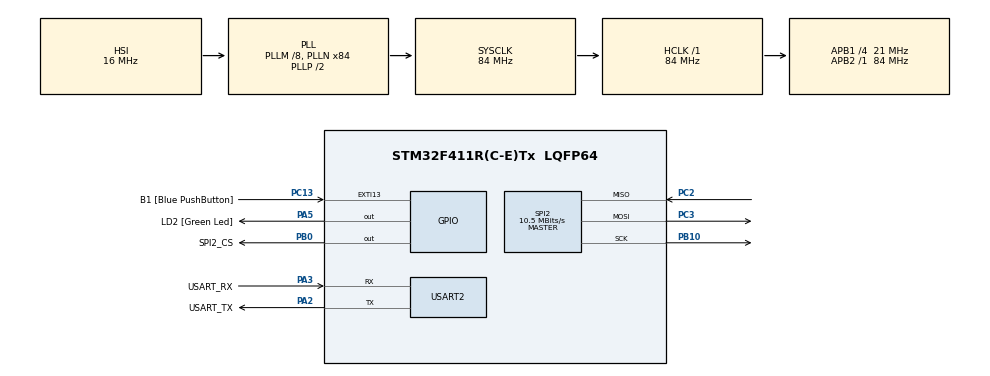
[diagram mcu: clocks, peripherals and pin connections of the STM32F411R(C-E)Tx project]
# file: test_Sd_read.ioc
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FATFS._MAX_SS=4096
FATFS._USE_LFN=1
Mcu.Family=STM32F4
Mcu.Name=STM32F411R(C-E)Tx
Mcu.Package=LQFP64
NVIC.PriorityGroup=NVIC_PRIORITYGROUP_0
NVIC.TIM3_IRQn=true\:0\:0\:false\:false\:true\:true\:true
PA13.GPIO_Label=TMS
PA13.Mode=Serial_Wire
PA13.Signal=SYS_JTMS-SWDIO
PA14.GPIO_Label=TCK
PA14.Mode=Serial_Wire
PA14.Signal=SYS_JTCK-SWCLK
PA2.GPIO_Label=USART_TX
PA2.Mode=Asynchronous
PA2.Signal=USART2_TX
PA3.GPIO_Label=USART_RX
PA3.Mode=Asynchronous
PA3.Signal=USART2_RX
PA5.GPIO_Label=LD2 [Green Led]
PA5.Signal=GPIO_Output
PB0.GPIO_Label=SPI2_CS
PB0.Signal=GPIO_Output
PB10.Mode=Full_Duplex_Master
PB10.Signal=SPI2_SCK
PB3.GPIO_Label=SWO
PB3.Signal=SYS_JTDO-SWO
PC13-ANTI_TAMP.GPIO_Label=B1 [Blue PushButton]
PC13-ANTI_TAMP.GPIO_ModeDefaultEXTI=GPIO_MODE_IT_FALLING
PC13-ANTI_TAMP.Signal=GPXTI13
PC14-OSC32_IN.Mode=LSE-External-Oscillator
PC14-OSC32_IN.Signal=RCC_OSC32_IN
PC15-OSC32_OUT.Mode=LSE-External-Oscillator
PC15-OSC32_OUT.Signal=RCC_OSC32_OUT
PC2.Mode=Full_Duplex_Master
PC2.Signal=SPI2_MISO
PC3.Mode=Full_Duplex_Master
PC3.Signal=SPI2_MOSI
PH0\ -\ OSC_IN.Mode=HSE-External-Oscillator
PH0\ -\ OSC_IN.Signal=RCC_OSC_IN
PH1\ -\ OSC_OUT.Mode=HSE-External-Oscillator
PH1\ -\ OSC_OUT.Signal=RCC_OSC_OUT
ProjectManager.HeapSize=0x200
ProjectManager.StackSize=0x400
ProjectManager.TargetToolchain=STM32CubeIDE
RCC.48MHZClocksFreq_Value=42000000
RCC.AHBFreq_Value=84000000
RCC.APB1CLKDivider=RCC_HCLK_DIV4
RCC.APB1Freq_Value=21000000
RCC.APB1TimFreq_Value=42000000
RCC.APB2Freq_Value=84000000
RCC.APB2TimFreq_Value=84000000
RCC.CortexFreq_Value=84000000
RCC.FLatency-AdvancedSettings=FLASH_LATENCY_2
RCC.HCLKFreq_Value=84000000
RCC.HSE_VALUE=8000000
RCC.HSI_VALUE=16000000
RCC.PLLM=8
RCC.PLLN=84
RCC.SYSCLKFreq_VALUE=84000000
RCC.SYSCLKSource=RCC_SYSCLKSOURCE_PLLCLK
RCC.VCOOutputFreq_Value=168000000
SPI2.CalculateBaudRate=10.5 MBits/s
SPI2.Direction=SPI_DIRECTION_2LINES
SPI2.Mode=SPI_MODE_MASTER
SPI2.VirtualType=VM_MASTER
TIM3.Period=99
TIM3.Prescaler=41999
USART2.VirtualMode=VM_ASYNC
VP_FATFS_VS_Generic.Mode=User_defined
VP_TIM3_VS_ClockSourceINT.Mode=Internal
board=NUCLEO-F411RE

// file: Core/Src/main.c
/* USER CODE BEGIN Header */
/**
  ******************************************************************************
  * @file           : main.c
  * @brief          : Main program body
  ******************************************************************************
  * @attention
  *
  * <h2><center>&copy; Copyright (c) 2022 STMicroelectronics.
  * All rights reserved.</center></h2>
  *
  * This software component is licensed by ST under BSD 3-Clause license,
  * the "License"; You may not use this file except in compliance with the
  * License. You may obtain a copy of the License at:
  *                        opensource.org/licenses/BSD-3-Clause
  *
  ******************************************************************************
  */
/* USER CODE END Header */
#include "main.h"
#include "fatfs.h"
#include "stdio.h"
/* USER CODE BEGIN Includes */
#include "fatfs_sd.h"
#include "string.h"
/* USER CODE END Includes */

SPI_HandleTypeDef hspi2;

TIM_HandleTypeDef htim3;

UART_HandleTypeDef huart2;

/* USER CODE BEGIN PV */
unsigned int Timer_flag= 0;
unsigned int i_sd_write = 1;
unsigned int sd_fram_size=100;
unsigned int sd_write_complete=0;
unsigned int sd_frame_number = 10;
unsigned int i_sd_frame = 0;
unsigned int sd_write_counter =1;
unsigned int i_sd_read = 0;
unsigned int act_int_num[100];  //actual data number in each frame
int i_int = 0 ;
int converted = 0 ;
UINT read_int_size=9000;
UINT read_char_size=48500;

char buffer_uart[100]; //writing buffer_uart
UINT br, bw;  // File read/write count

UINT read_point=0;
UINT i_int_previous=0;

char rd_buffer[48510];
int16_t rd_buffer_int[8500];
char buffer[45000];
UINT read_point_previous=0;
UINT read_int_total=0;
/* USER CODE END PV */

void SystemClock_Config(void);
static void MX_GPIO_Init(void);
static void MX_USART2_UART_Init(void);
static void MX_SPI2_Init(void);
static void MX_TIM3_Init(void);
/* USER CODE BEGIN PFP */
FRESULT open_append(FIL* fp, const char* path);
FRESULT open_append_read(FIL* fp, unsigned int read_point, const char* path);
/* USER CODE END PFP */

/* USER CODE BEGIN 0 */
FATFS fs;  // file system
FIL fil; // File
FILINFO fno;
FRESULT fresult;  // result

/**** capacity related *****/
FATFS *pfs;
DWORD fre_clust;
uint32_t total, free_space;

void send_uart(char*string)
{
	uint8_t len=strlen(string);
	HAL_UART_Transmit(&huart2, (uint8_t*) string, len, 2000);
}

int bufsize (char*buf)
{
	int i=0;
	while(*buf++ !='\0') i++;
	return i;
}

void bufclear (char *buffer_uart)
{
	for (int i=0; i<sizeof(buffer_uart); i++)
	{
		buffer_uart[i]='\0';
	}
}

FRESULT open_append(FIL* fp, /* [OUT] File object to create */
const char* path /* [IN]  File name to be opened */
) {

	/* Opens an existing file. If not exist, creates a new file. */
	fresult = f_open(fp, path, FA_WRITE | FA_OPEN_ALWAYS | FA_WRITE);
	if (fresult == 0) {
		/* Seek to end of the file to append data */
		fresult = f_lseek(fp, f_size(fp));
		if (fresult != 0)
			f_close(fp);
	}
	return fresult;
}
FRESULT open_append_read(FIL* fp, /* [OUT] File object to create */
		unsigned int read_point, /*starting point for each read*/
const char* path /* [IN]  File name to be opened */
) {

	/* Opens an existing file for read. */
	fresult = f_open(fp, path, FA_READ);
	if (fresult == 0) {
		/* Seek to end of the file to append data */
		if(read_point<f_size(&fil))
		{
			fresult = f_lseek(fp, read_point);
		}
		else
		{
			fresult=1;
		}
		if (fresult != 0)
			f_close(fp);
	}
	return fresult;
}
/* USER CODE END 0 */

int main(void)
{

  /* MCU Configuration--------------------------------------------------------*/

  /* Reset of all peripherals, Initializes the Flash interface and the Systick. */
  HAL_Init();

  /* Configure the system clock */
  SystemClock_Config();

  /* Initialize all configured peripherals */
  MX_GPIO_Init();
  MX_USART2_UART_Init();
  MX_SPI2_Init();
  MX_FATFS_Init();
  MX_TIM3_Init();
  /* USER CODE BEGIN 2 */
  /* Mount SD card*/
    fresult = f_mount(&fs, "/", 1);
    if (fresult != FR_OK) send_uart ("ERROR!!! in mounting SD CARD...\n\n");
    else send_uart("SD CARD mounted successfully...\n\n");

	/* Check free space */
	f_getfree("", &fre_clust, &pfs);

	total = (uint32_t)((pfs->n_fatent - 2) * pfs->csize * 0.5);
	sprintf (buffer_uart, "SD card total size:\t%lu\n", total);
	send_uart(buffer_uart);
	bufclear(buffer_uart);

	free_space = (uint32_t)(fre_clust * pfs->csize * 0.5);
	sprintf (buffer_uart, "SD card free space:\t%lu\n", free_space);
	send_uart(buffer_uart);
	bufclear(buffer_uart);

	read_int_total=0;
	Timer_flag=1;
	//try to use fwrite and fread
	/* Open file to write/ create a file if it doesn't exist */
   // fresult = f_open(&fil, "fileTimer.txt", FA_OPEN_ALWAYS | FA_READ | FA_WRITE);

//	//Open file to read
//		strcpy(buffer_uart, "This is File 2 and it says Hello from Aimee \n");
//
//		fresult = f_write(&fil,buffer_uart, bufsize(buffer_uart),&bw);
//
//		send_uart ("FILE2.text created and the data is written\n");
//		/* Close file */
//			fresult = f_close(&fil);
//
//			//Open file to read
//			fresult=f_open(&fil, "file1.txt", FA_READ);
//
//			// read data from the file
//				f_read(&fil, buffer_uart, fil.fptr,&br);
//
//				send_uart(buffer_uart);
//
//				f_close(&fil);
//
//				bufclear();

  /* USER CODE END 2 */

  /* Infinite loop */
  /* USER CODE BEGIN WHILE */
  while (1)
  {

	  //test sd read

	  if (Timer_flag)
	  {
		   Timer_flag=0;
		 // fresult=f_open(&fil, "data_8k.txt", FA_READ);
		  fresult= open_append_read(&fil,read_point,"data_8k.txt");
		  if(fresult == FR_OK)
		  {
			  int i = 0;
			  f_read(&fil, rd_buffer, read_char_size,&br);

			  for (i = 0; i < br; i++)
			  {
			      if (rd_buffer[i] == '\n')
			    	  rd_buffer[i] = ',';
			  }
              if ((rd_buffer[i-1]!='\r') && (rd_buffer[i-1]!=',' )) //If a integer has not completely been read
              {
            	  int i_pad=0;
            	  f_read(&fil, &(rd_buffer[i]), 10,&br);
              	  for (i_pad=i;i_pad < read_char_size+br; i_pad++)
             	 {
					  if (rd_buffer[i_pad] == '\n')
					  {
						  rd_buffer[i_pad] = ',';
						  for(int i_clear=i_pad+1;i_clear < read_char_size+br;i_clear++)
							{
							  rd_buffer[i_clear] = ',';
							}
						  break;
					  }

             	 }
              	  br=i_pad-1;  //update br after padding
              }

			  char* tok = rd_buffer ;

				  do
				  {
					  if (*tok == ',')
					  {
						  tok = strchr( tok, ',' ) + 1 ;
						  converted=0;
					  }
					  else
					  {
					  converted = sscanf( tok, "%d", &rd_buffer_int[i_int] ) ;
					  i_int++;
					  tok = strchr( tok, ',' ) + 1 ;
					  }

				  } while( tok != NULL  && converted != -1);

		   f_close(&fil);

///This section is only if you would like to use smaller buffer, and read the audio signal from .txt multiple times
//		   	   	   	   if(br>=read_char_size)
//		  			   {
//		  				   i_int--;
//		  				   i_int_previous=i_int; //save the index in the previous frame
//		  				   read_point_previous=read_point; //save the reading point in the previous frame
//		  				   read_point=read_point+br;  //move the reading point
//
//		  				 for (int i=i_int_previous;i<read_int_size; i++)
//						   {
//							   rd_buffer_int[i]= 0;
//						   }
//						   act_int_num[i_sd_read]=i_int_previous;
//						   i_int=0;
//		  			   }
//		  			   else
//		  			   {
//		  				 //the last frame for the entire reading
//						   read_point=read_point+br; //move the reading point
//						   for (int i=i_int;i<read_int_size; i++)
//							{
//								rd_buffer_int[i]= 0;
//							}
//						   act_int_num[i_sd_read]=i_int;
//		  			   }
//		   	   	   read_int_total=read_int_total+act_int_num[i_sd_read];
//		   		  i_sd_read++;
/////////////////////////////////////////////////////////////////////////////////////////////////////

		   bufclear(rd_buffer);

	  }
		 // else
		  //{
			  		//HAL_TIM_Base_Stop_IT(&htim3);
			  send_uart("SD CARD has been read successfully.\n The first 8k data in rd_buffer_int can be used for processing\n");
			  HAL_Delay(100);
		  //}

			  //test sd write
              int buffer_data[5];
		  	  for (int i=0; i<7500; i++){

		  		  buffer_data[0]=abs(rd_buffer_int[i])/1000; // get the thousandth value
		  		  buffer_data[1]=(abs(rd_buffer_int[i])-1000*buffer_data[0])/100; // get the hundredth value
		  		  buffer_data[2]=(abs(rd_buffer_int[i])-1000*buffer_data[0]-100*buffer_data[1])/10; // get the tenth value
		  		  buffer_data[3]=(abs(rd_buffer_int[i])-1000*buffer_data[0]-100*buffer_data[1]-10*buffer_data[2]); // get the oneth value

		  		 if(rd_buffer_int[i]<0)

				 {
		  			buffer[6*i]='-';
				 }
				 else
				 {
					 buffer[6*i]='0';
				 }

		  		buffer[6*i]= buffer[6*i]; // according to ASCII code, decode to the corresponding displayable  number
		  		buffer[6*i+1]= (buffer_data[0])+0x30;
		  		buffer[6*i+2]= buffer_data[1]+0x30;
		  		buffer[6*i+3]= buffer_data[2]+0x30;
		  		buffer[6*i+4]= buffer_data[3]+0x30;
		  		buffer[6*i+5]=0x0a; //change line

		  	  }

		  	  // save the whole buffer to SD card
		  	 fresult= open_append(&fil,"SDcard_save.txt");
		  				 if(fresult == FR_OK)
		  				 {
		  					 fresult = f_write(&fil,buffer, bufsize(buffer),&bw);
		  					 fresult = f_close(&fil);
		  				 }
	 }
  }
}
    /* USER CODE END WHILE */

void SystemClock_Config(void)
{
  RCC_OscInitTypeDef RCC_OscInitStruct = {0};
  RCC_ClkInitTypeDef RCC_ClkInitStruct = {0};

  /** Configure the main internal regulator output voltage
  */
  __HAL_RCC_PWR_CLK_ENABLE();
  __HAL_PWR_VOLTAGESCALING_CONFIG(PWR_REGULATOR_VOLTAGE_SCALE1);
  /** Initializes the RCC Oscillators according to the specified parameters
  * in the RCC_OscInitTypeDef structure.
  */
  RCC_OscInitStruct.OscillatorType = RCC_OSCILLATORTYPE_HSI;
  RCC_OscInitStruct.HSIState = RCC_HSI_ON;
  RCC_OscInitStruct.HSICalibrationValue = RCC_HSICALIBRATION_DEFAULT;
  RCC_OscInitStruct.PLL.PLLState = RCC_PLL_ON;
  RCC_OscInitStruct.PLL.PLLSource = RCC_PLLSOURCE_HSI;
  RCC_OscInitStruct.PLL.PLLM = 8;
  RCC_OscInitStruct.PLL.PLLN = 84;
  RCC_OscInitStruct.PLL.PLLP = RCC_PLLP_DIV2;
  RCC_OscInitStruct.PLL.PLLQ = 4;
  if (HAL_RCC_OscConfig(&RCC_OscInitStruct) != HAL_OK)
  {
    Error_Handler();
  }
  /** Initializes the CPU, AHB and APB buses clocks
  */
  RCC_ClkInitStruct.ClockType = RCC_CLOCKTYPE_HCLK|RCC_CLOCKTYPE_SYSCLK
                              |RCC_CLOCKTYPE_PCLK1|RCC_CLOCKTYPE_PCLK2;
  RCC_ClkInitStruct.SYSCLKSource = RCC_SYSCLKSOURCE_PLLCLK;
  RCC_ClkInitStruct.AHBCLKDivider = RCC_SYSCLK_DIV1;
  RCC_ClkInitStruct.APB1CLKDivider = RCC_HCLK_DIV4;
  RCC_ClkInitStruct.APB2CLKDivider = RCC_HCLK_DIV1;

  if (HAL_RCC_ClockConfig(&RCC_ClkInitStruct, FLASH_LATENCY_2) != HAL_OK)
  {
    Error_Handler();
  }
}

static void MX_SPI2_Init(void)
{

  /* SPI2 parameter configuration*/
  hspi2.Instance = SPI2;
  hspi2.Init.Mode = SPI_MODE_MASTER;
  hspi2.Init.Direction = SPI_DIRECTION_2LINES;
  hspi2.Init.DataSize = SPI_DATASIZE_8BIT;
  hspi2.Init.CLKPolarity = SPI_POLARITY_LOW;
  hspi2.Init.CLKPhase = SPI_PHASE_1EDGE;
  hspi2.Init.NSS = SPI_NSS_SOFT;
  hspi2.Init.BaudRatePrescaler = SPI_BAUDRATEPRESCALER_2;
  hspi2.Init.FirstBit = SPI_FIRSTBIT_MSB;
  hspi2.Init.TIMode = SPI_TIMODE_DISABLE;
  hspi2.Init.CRCCalculation = SPI_CRCCALCULATION_DISABLE;
  hspi2.Init.CRCPolynomial = 10;
  if (HAL_SPI_Init(&hspi2) != HAL_OK)
  {
    Error_Handler();
  }

}

static void MX_TIM3_Init(void)
{

  TIM_ClockConfigTypeDef sClockSourceConfig = {0};
  TIM_MasterConfigTypeDef sMasterConfig = {0};

  htim3.Instance = TIM3;
  htim3.Init.Prescaler = 41999;
  htim3.Init.CounterMode = TIM_COUNTERMODE_UP;
  htim3.Init.Period = 99;
  htim3.Init.ClockDivision = TIM_CLOCKDIVISION_DIV1;
  htim3.Init.AutoReloadPreload = TIM_AUTORELOAD_PRELOAD_DISABLE;
  if (HAL_TIM_Base_Init(&htim3) != HAL_OK)
  {
    Error_Handler();
  }
  sClockSourceConfig.ClockSource = TIM_CLOCKSOURCE_INTERNAL;
  if (HAL_TIM_ConfigClockSource(&htim3, &sClockSourceConfig) != HAL_OK)
  {
    Error_Handler();
  }
  sMasterConfig.MasterOutputTrigger = TIM_TRGO_RESET;
  sMasterConfig.MasterSlaveMode = TIM_MASTERSLAVEMODE_DISABLE;
  if (HAL_TIMEx_MasterConfigSynchronization(&htim3, &sMasterConfig) != HAL_OK)
  {
    Error_Handler();
  }

}

static void MX_USART2_UART_Init(void)
{

  huart2.Instance = USART2;
  huart2.Init.BaudRate = 115200;
  huart2.Init.WordLength = UART_WORDLENGTH_8B;
  huart2.Init.StopBits = UART_STOPBITS_1;
  huart2.Init.Parity = UART_PARITY_NONE;
  huart2.Init.Mode = UART_MODE_TX_RX;
  huart2.Init.HwFlowCtl = UART_HWCONTROL_NONE;
  huart2.Init.OverSampling = UART_OVERSAMPLING_16;
  if (HAL_UART_Init(&huart2) != HAL_OK)
  {
    Error_Handler();
  }

}

static void MX_GPIO_Init(void)
{
  GPIO_InitTypeDef GPIO_InitStruct = {0};

  /* GPIO Ports Clock Enable */
  __HAL_RCC_GPIOC_CLK_ENABLE();
  __HAL_RCC_GPIOH_CLK_ENABLE();
  __HAL_RCC_GPIOA_CLK_ENABLE();
  __HAL_RCC_GPIOB_CLK_ENABLE();

  /*Configure GPIO pin Output Level */
  HAL_GPIO_WritePin(LD2_GPIO_Port, LD2_Pin, GPIO_PIN_RESET);

  /*Configure GPIO pin Output Level */
  HAL_GPIO_WritePin(SPI2_CS_GPIO_Port, SPI2_CS_Pin, GPIO_PIN_RESET);

  /*Configure GPIO pin : B1_Pin */
  GPIO_InitStruct.Pin = B1_Pin;
  GPIO_InitStruct.Mode = GPIO_MODE_IT_FALLING;
  GPIO_InitStruct.Pull = GPIO_NOPULL;
  HAL_GPIO_Init(B1_GPIO_Port, &GPIO_InitStruct);

  /*Configure GPIO pin : LD2_Pin */
  GPIO_InitStruct.Pin = LD2_Pin;
  GPIO_InitStruct.Mode = GPIO_MODE_OUTPUT_PP;
  GPIO_InitStruct.Pull = GPIO_NOPULL;
  GPIO_InitStruct.Speed = GPIO_SPEED_FREQ_LOW;
  HAL_GPIO_Init(LD2_GPIO_Port, &GPIO_InitStruct);

  /*Configure GPIO pin : SPI2_CS_Pin */
  GPIO_InitStruct.Pin = SPI2_CS_Pin;
  GPIO_InitStruct.Mode = GPIO_MODE_OUTPUT_PP;
  GPIO_InitStruct.Pull = GPIO_NOPULL;
  GPIO_InitStruct.Speed = GPIO_SPEED_FREQ_LOW;
  HAL_GPIO_Init(SPI2_CS_GPIO_Port, &GPIO_InitStruct);

}

/* USER CODE BEGIN 4 */
void HAL_TIM_PeriodElapsedCallback(TIM_HandleTypeDef *htim)
{
	Timer_flag=1;
}

/* USER CODE END 4 */

void Error_Handler(void)
{
  __disable_irq();
  while (1)
  {
  }
}

/************************ (C) COPYRIGHT STMicroelectronics *****END OF FILE****/
